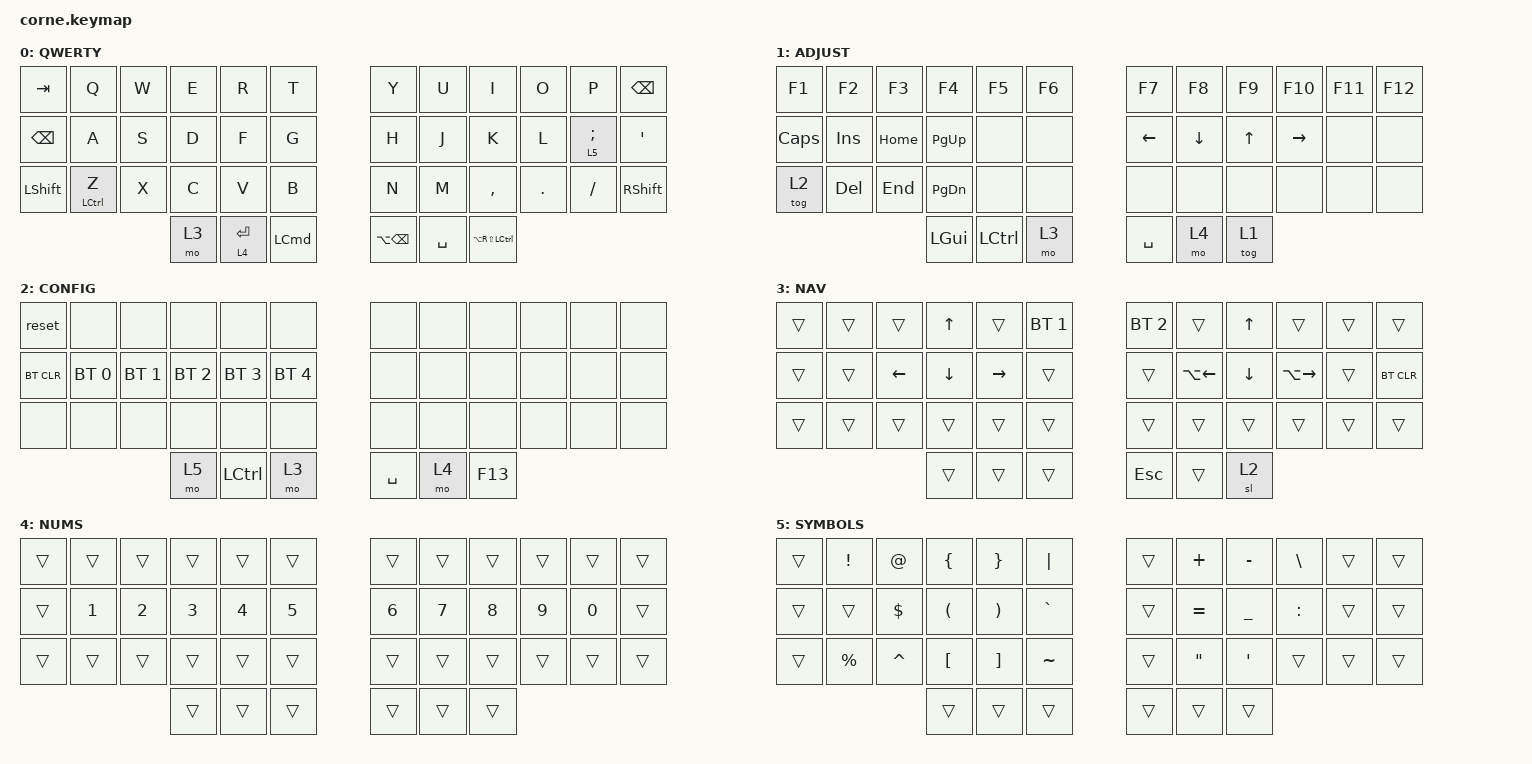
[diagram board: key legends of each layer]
/*
*
* Copyright (c) 2021 lowprokb.ca
* SPDX-License-Identifier: MIT
*
*/

#include <behaviors.dtsi>
#include <dt-bindings/zmk/keys.h>
#include <dt-bindings/zmk/bt.h>

#define QWERTY 0
#define GAMING 1
#define NUMPAD 2
#define NUMROW 3
#define ADJUST 4
#define CONFIG 5

/ {
    macros {
        meh: meh {
            compatible = "zmk,behavior-macro";
            label = "new_macro";
            #binding-cells = <0>;
            bindings =
                <&macro_press>,
                <&kp LSHFT &kp LEFT_ALT &kp LEFT_CONTROL>,
                <&macro_pause_for_release>,
                <&macro_release>,
                <&kp LEFT_SHIFT &kp LEFT_ALT &kp LEFT_CONTROL>;
        };
    };

    keymap {
        compatible = "zmk,keymap";

        QWERTY {
            label = "QWERTY";
            bindings = <
       &kp TAB               &kp Q   &kp W   &kp E         &kp R             &kp T              &kp Y      &kp U                     &kp I    &kp O            &kp P     &kp BACKSPACE
 &kp BACKSPACE               &kp A   &kp S   &kp D         &kp F             &kp G              &kp H      &kp J                     &kp K    &kp L  &lt 5 SEMICOLON  &kp SINGLE_QUOTE
     &kp LSHFT  &mt LEFT_CONTROL Z   &kp X   &kp C         &kp V             &kp B              &kp N      &kp M                 &kp COMMA  &kp DOT         &kp FSLH        &kp RSHIFT
                                             &mo 3  &lt 4 RETURN  &kp LEFT_COMMAND  &kp LA(BACKSPACE)  &kp SPACE  &kp LA(RS(LEFT_CONTROL))
            >;
        };

        ADJUST {
            bindings = <
   &kp F1   &kp F2    &kp F3     &kp F4    &kp F5  &kp F6    &kp F7    &kp F8  &kp F9    &kp F10  &kp F11  &kp F12
 &kp CAPS  &kp INS  &kp HOME  &kp PG_UP     &none   &none  &kp LEFT  &kp DOWN  &kp UP  &kp RIGHT    &none    &none
   &tog 2  &kp DEL   &kp END  &kp PG_DN     &none   &none     &none     &none   &none      &none    &none    &none
                               &kp LGUI  &kp LCTL   &mo 3   &kp SPC     &mo 4  &tog 1
            >;
        };

        CONFIG {
            bindings = <
     &reset         &none         &none         &none         &none         &none    &none   &none    &none   &none   &none   &none
 &bt BT_CLR  &bt BT_SEL 0  &bt BT_SEL 1  &bt BT_SEL 2  &bt BT_SEL 3  &bt BT_SEL 4    &none   &none    &none   &none   &none   &none
      &none         &none         &none         &none         &none         &none    &none   &none    &none   &none   &none   &none
                                                &mo 5      &kp LCTL         &mo 3  &kp SPC   &mo 4  &kp F13
            >;
        };

        NAV {
            bindings = <
 &trans  &trans          &trans    &kp UP_ARROW           &trans  &bt BT_SEL 1  &bt BT_SEL 2              &trans    &kp UP_ARROW               &trans  &trans      &trans
 &trans  &trans  &kp LEFT_ARROW  &kp DOWN_ARROW  &kp RIGHT_ARROW        &trans        &trans  &kp LA(LEFT_ARROW)  &kp DOWN_ARROW  &kp LA(RIGHT_ARROW)  &trans  &bt BT_CLR
 &trans  &trans          &trans          &trans           &trans        &trans        &trans              &trans          &trans               &trans  &trans      &trans
                                         &trans           &trans        &trans    &kp ESCAPE              &trans           &sl 2
            >;
        };

        NUMS {
            bindings = <
 &trans  &trans  &trans  &trans  &trans  &trans  &trans  &trans  &trans  &trans  &trans  &trans
 &trans  &kp N1  &kp N2  &kp N3  &kp N4  &kp N5  &kp N6  &kp N7  &kp N8  &kp N9  &kp N0  &trans
 &trans  &trans  &trans  &trans  &trans  &trans  &trans  &trans  &trans  &trans  &trans  &trans
                         &trans  &trans  &trans  &trans  &trans  &trans
            >;
        };

        SYMBOLS {
            bindings = <
 &trans  &kp EXCLAMATION      &kp AT        &kp LEFT_BRACE        &kp RIGHT_BRACE   &kp PIPE  &trans           &kp PLUS         &kp MINUS  &kp BACKSLASH  &trans  &trans
 &trans           &trans  &kp DOLLAR  &kp LEFT_PARENTHESIS  &kp RIGHT_PARENTHESIS  &kp GRAVE  &trans          &kp EQUAL    &kp UNDERSCORE      &kp COLON  &trans  &trans
 &trans      &kp PERCENT   &kp CARET      &kp LEFT_BRACKET      &kp RIGHT_BRACKET  &kp TILDE  &trans  &kp DOUBLE_QUOTES  &kp SINGLE_QUOTE         &trans  &trans  &trans
                                                    &trans                 &trans     &trans  &trans             &trans            &trans
            >;
        };
    };
};
